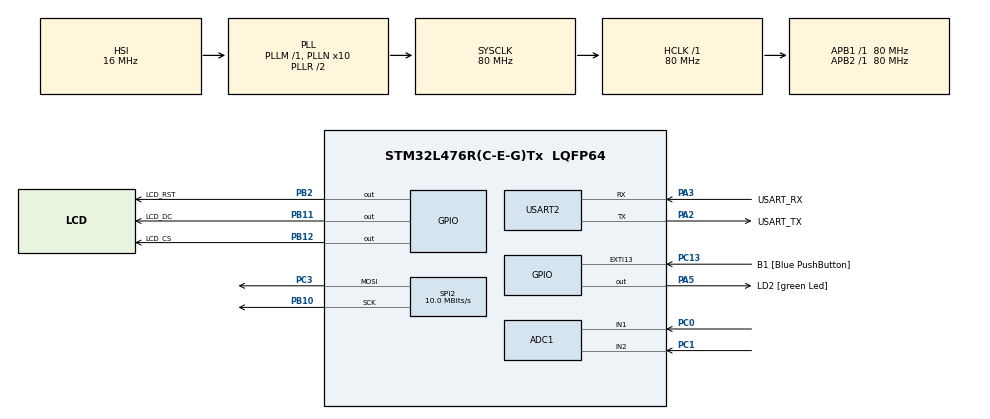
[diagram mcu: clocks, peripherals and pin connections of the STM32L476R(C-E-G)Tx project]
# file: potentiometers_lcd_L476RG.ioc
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ADC1.Channel-0\#ChannelRegularConversion=ADC_CHANNEL_1
ADC1.Channel-1\#ChannelRegularConversion=ADC_CHANNEL_2
ADC1.ContinuousConvMode=ENABLE
ADC1.DMAContinuousRequests=ENABLE
ADC1.NbrOfConversion=2
ADC1.NbrOfConversionFlag=1
ADC1.OffsetNumber-0\#ChannelRegularConversion=ADC_OFFSET_NONE
ADC1.OffsetNumber-1\#ChannelRegularConversion=ADC_OFFSET_NONE
ADC1.Rank-0\#ChannelRegularConversion=1
ADC1.Rank-1\#ChannelRegularConversion=2
ADC1.SamplingTime-0\#ChannelRegularConversion=ADC_SAMPLETIME_640CYCLES_5
ADC1.SamplingTime-1\#ChannelRegularConversion=ADC_SAMPLETIME_640CYCLES_5
ADC1.master=1
Dma.ADC1.0.Direction=DMA_PERIPH_TO_MEMORY
Dma.ADC1.0.Instance=DMA1_Channel1
Dma.ADC1.0.MemDataAlignment=DMA_MDATAALIGN_HALFWORD
Dma.ADC1.0.MemInc=DMA_MINC_ENABLE
Dma.ADC1.0.Mode=DMA_CIRCULAR
Dma.ADC1.0.PeriphDataAlignment=DMA_PDATAALIGN_HALFWORD
Dma.ADC1.0.PeriphInc=DMA_PINC_DISABLE
Dma.ADC1.0.Priority=DMA_PRIORITY_LOW
Dma.Request0=ADC1
Dma.Request1=SPI2_TX
Dma.SPI2_TX.1.Direction=DMA_MEMORY_TO_PERIPH
Dma.SPI2_TX.1.Instance=DMA1_Channel5
Dma.SPI2_TX.1.MemDataAlignment=DMA_MDATAALIGN_BYTE
Dma.SPI2_TX.1.MemInc=DMA_MINC_ENABLE
Dma.SPI2_TX.1.Mode=DMA_NORMAL
Dma.SPI2_TX.1.PeriphDataAlignment=DMA_PDATAALIGN_BYTE
Dma.SPI2_TX.1.PeriphInc=DMA_PINC_DISABLE
Dma.SPI2_TX.1.Priority=DMA_PRIORITY_LOW
Mcu.Family=STM32L4
Mcu.Name=STM32L476R(C-E-G)Tx
Mcu.Package=LQFP64
NVIC.DMA1_Channel1_IRQn=true\:2\:0\:true\:false\:true\:false\:true\:true
NVIC.DMA1_Channel5_IRQn=true\:8\:0\:true\:false\:true\:false\:true\:true
NVIC.PriorityGroup=NVIC_PRIORITYGROUP_4
PA13\ (JTMS-SWDIO).GPIO_Label=TMS
PA13\ (JTMS-SWDIO).Mode=Serial_Wire
PA13\ (JTMS-SWDIO).Signal=SYS_JTMS-SWDIO
PA14\ (JTCK-SWCLK).GPIO_Label=TCK
PA14\ (JTCK-SWCLK).Mode=Serial_Wire
PA14\ (JTCK-SWCLK).Signal=SYS_JTCK-SWCLK
PA2.GPIO_Label=USART_TX
PA2.GPIO_Mode=GPIO_MODE_AF_PP
PA2.GPIO_PuPd=GPIO_NOPULL
PA2.GPIO_Speed=GPIO_SPEED_FREQ_VERY_HIGH
PA2.Mode=Asynchronous
PA2.Signal=USART2_TX
PA3.GPIO_Label=USART_RX
PA3.GPIO_Mode=GPIO_MODE_AF_PP
PA3.GPIO_PuPd=GPIO_NOPULL
PA3.GPIO_Speed=GPIO_SPEED_FREQ_VERY_HIGH
PA3.Mode=Asynchronous
PA3.Signal=USART2_RX
PA5.GPIO_Label=LD2 [green Led]
PA5.GPIO_ModeDefaultOutputPP=GPIO_MODE_OUTPUT_PP
PA5.GPIO_PuPd=GPIO_NOPULL
PA5.GPIO_Speed=GPIO_SPEED_FREQ_LOW
PA5.Signal=GPIO_Output
PB10.Mode=TX_Only_Simplex_Unidirect_Master
PB10.Signal=SPI2_SCK
PB11.GPIO_Label=LCD_DC
PB11.Signal=GPIO_Output
PB12.GPIO_Label=LCD_CS
PB12.PinState=GPIO_PIN_SET
PB12.Signal=GPIO_Output
PB2.GPIO_Label=LCD_RST
PB2.Signal=GPIO_Output
PB3\ (JTDO-TRACESWO).GPIO_Label=SWO
PB3\ (JTDO-TRACESWO).Signal=SYS_JTDO-SWO
PC0.Signal=ADCx_IN1
PC1.Signal=ADCx_IN2
PC13.GPIO_Label=B1 [Blue PushButton]
PC13.GPIO_ModeDefaultEXTI=GPIO_MODE_IT_FALLING
PC13.GPIO_PuPd=GPIO_NOPULL
PC13.Signal=GPXTI13
PC14-OSC32_IN\ (PC14).Mode=LSE-External-Oscillator
PC14-OSC32_IN\ (PC14).Signal=RCC_OSC32_IN
PC15-OSC32_OUT\ (PC15).Mode=LSE-External-Oscillator
PC15-OSC32_OUT\ (PC15).Signal=RCC_OSC32_OUT
PC3.Mode=TX_Only_Simplex_Unidirect_Master
PC3.Signal=SPI2_MOSI
PH0-OSC_IN\ (PH0).Signal=RCC_OSC_IN
PH1-OSC_OUT\ (PH1).Signal=RCC_OSC_OUT
ProjectManager.HeapSize=0x200
ProjectManager.StackSize=0x2000
ProjectManager.TargetToolchain=STM32CubeIDE
RCC.ADCFreq_Value=64000000
RCC.AHBFreq_Value=80000000
RCC.APB1Freq_Value=80000000
RCC.APB1TimFreq_Value=80000000
RCC.APB2Freq_Value=80000000
RCC.APB2TimFreq_Value=80000000
RCC.CortexFreq_Value=80000000
RCC.HCLKFreq_Value=80000000
RCC.HSE_VALUE=8000000
RCC.HSI_VALUE=16000000
RCC.MSI_VALUE=4000000
RCC.PLLN=10
RCC.PLLSourceVirtual=RCC_PLLSOURCE_HSI
RCC.PREFETCH_ENABLE=1
RCC.SYSCLKFreq_VALUE=80000000
RCC.SYSCLKSource=RCC_SYSCLKSOURCE_PLLCLK
RCC.USBFreq_Value=64000000
RCC.VCOOutputFreq_Value=160000000
SH.ADCx_IN1.0=ADC1_IN1,IN1-Single-Ended
SH.ADCx_IN2.0=ADC1_IN2,IN2-Single-Ended
SPI2.BaudRatePrescaler=SPI_BAUDRATEPRESCALER_8
SPI2.CalculateBaudRate=10.0 MBits/s
SPI2.DataSize=SPI_DATASIZE_8BIT
SPI2.Direction=SPI_DIRECTION_2LINES
SPI2.Mode=SPI_MODE_MASTER
SPI2.VirtualType=VM_MASTER
USART2.VirtualMode-Asynchronous=VM_ASYNC
board=NUCLEO-L476RG

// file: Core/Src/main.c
/* USER CODE BEGIN Header */
/**
  ******************************************************************************
  * @file           : main.c
  * @brief          : Main program body
  ******************************************************************************
  * @attention
  *
  * Copyright (c) 2026 STMicroelectronics.
  * All rights reserved.
  *
  * This software is licensed under terms that can be found in the LICENSE file
  * in the root directory of this software component.
  * If no LICENSE file comes with this software, it is provided AS-IS.
  *
  ******************************************************************************
  */
/* USER CODE END Header */
#include "main.h"
#include "adc.h"
#include "dma.h"
#include "spi.h"
#include "usart.h"
#include "gpio.h"

/* USER CODE BEGIN Includes */
#include <stdio.h>
#include "hagl.h"
#include "font6x9.h"
#include "rgb565.h"
#include "lcd.h"

/* USER CODE END Includes */

void SystemClock_Config(void);

/* USER CODE BEGIN 0 */
void HAL_SPI_TxCpltCallback(SPI_HandleTypeDef *hspi)
{
	if(hspi == &hspi2)
	{
		lcd_transfer_done();
	}
}

int __io_putchar(int ch)
{
	if(ch == '\n')
	{
		uint8_t ch2 = '\r';
		HAL_UART_Transmit(&huart2, &ch2, 1, HAL_MAX_DELAY);
	}

	HAL_UART_Transmit(&huart2, (uint8_t*)&ch, 1, HAL_MAX_DELAY);
	return 1;
}

/* USER CODE END 0 */

int main(void)
{

  /* MCU Configuration--------------------------------------------------------*/

  /* Reset of all peripherals, Initializes the Flash interface and the Systick. */
  HAL_Init();

  /* Configure the system clock */
  SystemClock_Config();

  /* Initialize all configured peripherals */
  MX_GPIO_Init();
  MX_DMA_Init();
  MX_USART2_UART_Init();
  MX_ADC1_Init();
  MX_SPI2_Init();

  /* Infinite loop */
  /* USER CODE BEGIN WHILE */

  HAL_ADCEx_Calibration_Start(&hadc1, ADC_SINGLE_ENDED);

  volatile static uint16_t potvalue[2];
  wchar_t pot1ValueBuff[32];
  wchar_t pot2ValueBuff[32];
  HAL_ADC_Start_DMA(&hadc1, (uint32_t*)potvalue, 2);

  lcd_init();

  while (1)
  {
	  float voltage_pot1 = 3.3f * potvalue[0] / 4096.0f;
	  float voltage_pot2 = 3.3f * potvalue[1] / 4096.0f;
	  int v1 = (int)(voltage_pot1 * 100);
	  int v2 = (int)(voltage_pot2 * 100);

	  swprintf(pot1ValueBuff, 32, L"%d.%02dV", v1/100, v1%100);
	  swprintf(pot2ValueBuff, 32, L"%d.%02dV", v2/100, v2%100);

	  hagl_clear_screen();

	  hagl_draw_rounded_rectangle(30, 10, 130, 43, 10, YELLOW);
	  hagl_draw_rounded_rectangle(30, 60, 130, 93, 10, YELLOW);
	  hagl_put_text(L"Potentiometer 1", 37, 17, YELLOW, font6x9);
	  hagl_put_text(pot1ValueBuff, 64, 30, YELLOW, font6x9);
	  hagl_put_text(L"Potentiometer 2", 37, 67, YELLOW, font6x9);
	  hagl_put_text(pot2ValueBuff, 64, 80, YELLOW, font6x9);
	  hagl_put_text(L"github.com/kpatrykEIT", 20, 110, BLUE, font6x9);

	  lcd_copy();

    /* USER CODE END WHILE */

  }
}

void SystemClock_Config(void)
{
  RCC_OscInitTypeDef RCC_OscInitStruct = {0};
  RCC_ClkInitTypeDef RCC_ClkInitStruct = {0};

  /** Configure the main internal regulator output voltage
  */
  if (HAL_PWREx_ControlVoltageScaling(PWR_REGULATOR_VOLTAGE_SCALE1) != HAL_OK)
  {
    Error_Handler();
  }

  /** Initializes the RCC Oscillators according to the specified parameters
  * in the RCC_OscInitTypeDef structure.
  */
  RCC_OscInitStruct.OscillatorType = RCC_OSCILLATORTYPE_HSI;
  RCC_OscInitStruct.HSIState = RCC_HSI_ON;
  RCC_OscInitStruct.HSICalibrationValue = RCC_HSICALIBRATION_DEFAULT;
  RCC_OscInitStruct.PLL.PLLState = RCC_PLL_ON;
  RCC_OscInitStruct.PLL.PLLSource = RCC_PLLSOURCE_HSI;
  RCC_OscInitStruct.PLL.PLLM = 1;
  RCC_OscInitStruct.PLL.PLLN = 10;
  RCC_OscInitStruct.PLL.PLLP = RCC_PLLP_DIV7;
  RCC_OscInitStruct.PLL.PLLQ = RCC_PLLQ_DIV2;
  RCC_OscInitStruct.PLL.PLLR = RCC_PLLR_DIV2;
  if (HAL_RCC_OscConfig(&RCC_OscInitStruct) != HAL_OK)
  {
    Error_Handler();
  }

  /** Initializes the CPU, AHB and APB buses clocks
  */
  RCC_ClkInitStruct.ClockType = RCC_CLOCKTYPE_HCLK|RCC_CLOCKTYPE_SYSCLK
                              |RCC_CLOCKTYPE_PCLK1|RCC_CLOCKTYPE_PCLK2;
  RCC_ClkInitStruct.SYSCLKSource = RCC_SYSCLKSOURCE_PLLCLK;
  RCC_ClkInitStruct.AHBCLKDivider = RCC_SYSCLK_DIV1;
  RCC_ClkInitStruct.APB1CLKDivider = RCC_HCLK_DIV1;
  RCC_ClkInitStruct.APB2CLKDivider = RCC_HCLK_DIV1;

  if (HAL_RCC_ClockConfig(&RCC_ClkInitStruct, FLASH_LATENCY_4) != HAL_OK)
  {
    Error_Handler();
  }
}

void Error_Handler(void)
{
  __disable_irq();
  while (1)
  {
  }
}
